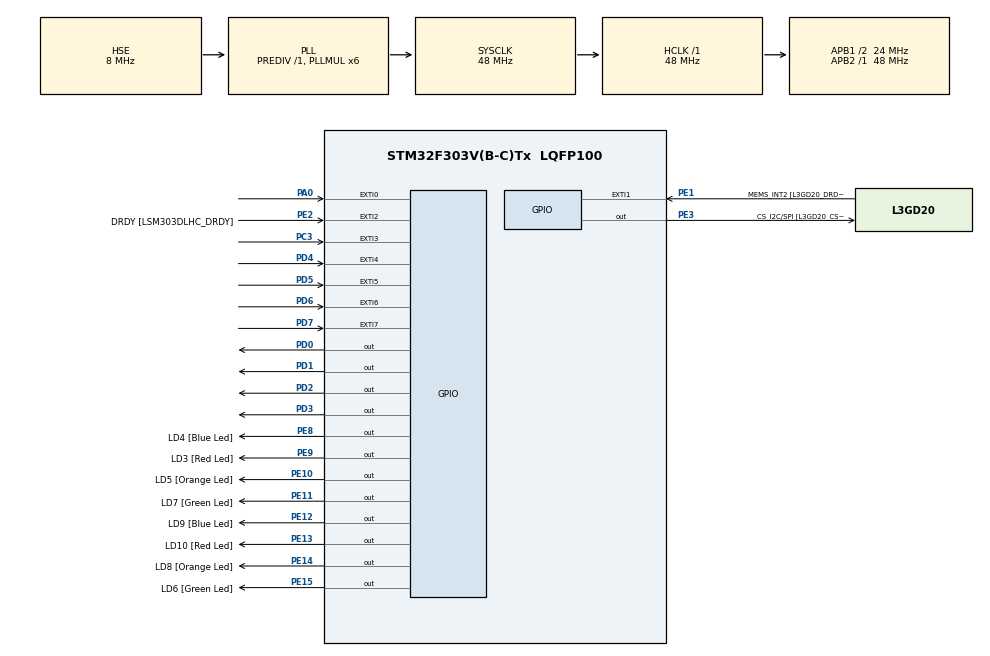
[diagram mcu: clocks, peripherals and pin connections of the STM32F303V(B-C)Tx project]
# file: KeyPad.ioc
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Mcu.Family=STM32F3
Mcu.Name=STM32F303V(B-C)Tx
Mcu.Package=LQFP100
NVIC.EXTI0_IRQn=true\:1\:0\:true\:false\:true\:true\:true
NVIC.EXTI3_IRQn=true\:2\:0\:true\:false\:true\:true\:true
NVIC.EXTI4_IRQn=true\:1\:0\:true\:false\:true\:true\:true
NVIC.EXTI9_5_IRQn=true\:1\:0\:true\:false\:true\:true\:true
NVIC.PriorityGroup=NVIC_PRIORITYGROUP_3
NVIC.TIM3_IRQn=true\:3\:0\:true\:false\:true\:true\:true
NVIC.TIM4_IRQn=true\:4\:0\:true\:false\:true\:true\:true
PA0.GPIO_ModeDefaultEXTI=GPIO_MODE_IT_RISING_FALLING
PA0.GPIO_PuPd=GPIO_PULLDOWN
PA0.Signal=GPXTI0
PA11.GPIO_Label=DM
PA11.Signal=USB_DM
PA12.GPIO_Label=DP
PA12.Signal=USB_DP
PA13.GPIO_Label=SWDIO
PA13.Mode=Serial_Wire
PA13.Signal=SYS_JTMS-SWDIO
PA14.GPIO_Label=SWCLK
PA14.Mode=Serial_Wire
PA14.Signal=SYS_JTCK-SWCLK
PB3.GPIO_Label=SWO
PB3.Signal=SYS_JTDO-TRACESWO
PB6.GPIO_Label=I2C1_SCL [LSM303DLHC_SCL]
PB6.GPIO_Pu=GPIO_PULLUP
PB6.Signal=I2C1_SCL
PB7.GPIO_Label=I2C1_SDA [LSM303DLHC_SDA]
PB7.GPIO_Pu=GPIO_PULLUP
PB7.Signal=I2C1_SDA
PC14-OSC32_IN.GPIO_Label=OSC32_IN
PC14-OSC32_IN.Signal=RCC_OSC32_IN
PC15-OSC32_OUT.GPIO_Label=OSC32_OUT
PC15-OSC32_OUT.Signal=RCC_OSC32_OUT
PC3.Signal=GPXTI3
PD0.Signal=GPIO_Output
PD1.Signal=GPIO_Output
PD2.Signal=GPIO_Output
PD3.Signal=GPIO_Output
PD4.GPIO_ModeDefaultEXTI=GPIO_MODE_IT_RISING
PD4.GPIO_PuPd=GPIO_PULLDOWN
PD4.Signal=GPXTI4
PD5.GPIO_ModeDefaultEXTI=GPIO_MODE_IT_RISING
PD5.GPIO_PuPd=GPIO_PULLDOWN
PD5.Signal=GPXTI5
PD6.GPIO_ModeDefaultEXTI=GPIO_MODE_IT_RISING
PD6.GPIO_PuPd=GPIO_PULLDOWN
PD6.Signal=GPXTI6
PD7.GPIO_ModeDefaultEXTI=GPIO_MODE_IT_RISING
PD7.GPIO_PuPd=GPIO_PULLDOWN
PD7.Signal=GPXTI7
PE1.GPIO_Label=MEMS_INT2 [L3GD20_DRDY/INT2]
PE1.GPIO_ModeDefaultEXTI=GPIO_MODE_EVT_RISING
PE1.Signal=GPXTI1
PE10.GPIO_Label=LD5 [Orange Led]
PE10.Signal=GPIO_Output
PE11.GPIO_Label=LD7 [Green Led]
PE11.Signal=GPIO_Output
PE12.GPIO_Label=LD9 [Blue Led]
PE12.Signal=GPIO_Output
PE13.GPIO_Label=LD10 [Red Led]
PE13.Signal=GPIO_Output
PE14.GPIO_Label=LD8 [Orange Led]
PE14.Signal=GPIO_Output
PE15.GPIO_Label=LD6 [Green Led]
PE15.Signal=GPIO_Output
PE2.GPIO_Label=DRDY [LSM303DLHC_DRDY]
PE2.GPIO_ModeDefaultEXTI=GPIO_MODE_EVT_RISING
PE2.Signal=GPXTI2
PE3.GPIO_Label=CS_I2C/SPI [L3GD20_CS_I2C/SPI]
PE3.Signal=GPIO_Output
PE8.GPIO_Label=LD4 [Blue Led]
PE8.Signal=GPIO_Output
PE9.GPIO_Label=LD3 [Red Led]
PE9.Signal=GPIO_Output
PF0-OSC_IN.GPIO_Label=OSC_IN
PF0-OSC_IN.Mode=HSE-External-Clock-Source
PF0-OSC_IN.Signal=RCC_OSC_IN
PF1-OSC_OUT.GPIO_Label=OSC_OUT
PF1-OSC_OUT.Signal=RCC_OSC_OUT
ProjectManager.HeapSize=0x200
ProjectManager.StackSize=0x400
ProjectManager.TargetToolchain=STM32CubeIDE
RCC.AHBFreq_Value=48000000
RCC.APB1CLKDivider=RCC_HCLK_DIV2
RCC.APB1Freq_Value=24000000
RCC.APB1TimFreq_Value=48000000
RCC.APB2Freq_Value=48000000
RCC.APB2TimFreq_Value=48000000
RCC.CortexFreq_Value=48000000
RCC.HCLKFreq_Value=48000000
RCC.HSE_VALUE=8000000
RCC.HSI_VALUE=8000000
RCC.LSE_VALUE=32768
RCC.PLLMUL=RCC_PLL_MUL6
RCC.PLLSourceVirtual=RCC_PLLSOURCE_HSE
RCC.SYSCLKFreq_VALUE=48000000
RCC.SYSCLKSourceVirtual=RCC_SYSCLKSOURCE_PLLCLK
RCC.USBFreq_Value=48000000
RTC.AsynchPrediv=39
RTC.Format=RTC_FORMAT_BIN
RTC.Hours=18
RTC.Minutes=30
RTC.StoreOperation=RTC_STOREOPERATION_SET
RTC.SynchPrediv=999
TIM3.Period=9999
TIM3.Prescaler=4799
TIM4.Period=9999
TIM4.Prescaler=1199
VP_RTC_VS_RTC_Activate.Mode=RTC_Enabled
VP_RTC_VS_RTC_Calendar.Mode=RTC_Calendar
VP_TIM3_VS_ClockSourceINT.Mode=Internal
VP_TIM4_VS_ClockSourceINT.Mode=Internal
board=STM32F3DISCOVERY

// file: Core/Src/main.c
/* USER CODE BEGIN Header */
/**
  ******************************************************************************
  * @file           : main.c
  * @brief          : Main program body
  ******************************************************************************
  * @attention
  *
  * <h2><center>&copy; Copyright (c) 2021 STMicroelectronics.
  * All rights reserved.</center></h2>
  *
  * This software component is licensed by ST under BSD 3-Clause license,
  * the "License"; You may not use this file except in compliance with the
  * License. You may obtain a copy of the License at:
  *                        opensource.org/licenses/BSD-3-Clause
  *
  ******************************************************************************
  */
/* USER CODE END Header */
#include "main.h"

/* USER CODE BEGIN Includes */
#include "LiquidCrystal.h"
/* USER CODE END Includes */

/* USER CODE BEGIN PD */
#define EXTCOUNT 4
#define OUTPUTCOUNT 4
#define NOTPRESSED 128
#define PASSLEN 8

#define INACTIVE 6
#define LOCKED 0
#define UNLOCKED 1
#define SHORTPASS 2
#define LONGPASS 3
#define WRONGPASS 4
#define RIGHTPASS 5
#define NOTSET 7
#define SET 8

#define SAFE 0
#define NOTSAFE 1
/* USER CODE END PD */

RTC_HandleTypeDef hrtc;

TIM_HandleTypeDef htim3;
TIM_HandleTypeDef htim4;

/* USER CODE BEGIN PV */
RTC_DateTypeDef now_date;
RTC_TimeTypeDef now;
int tick_prev = 0;
uint16_t ext_pins[] = {GPIO_PIN_4, GPIO_PIN_5, GPIO_PIN_6, GPIO_PIN_7};
uint16_t output_pins[] = {GPIO_PIN_0, GPIO_PIN_1, GPIO_PIN_2, GPIO_PIN_3};
uint8_t cur_pressed[] = {NOTPRESSED, NOTPRESSED};
unsigned char keymap[][4] = {
              {'1', '2', '3', 'A'},
              {'4', '5', '6', 'B'},
              {'7', '8', '9', 'C'},
              {'S', '0', 'D', 'E'}
};
uint8_t pass_pointer = 0;
unsigned char password[9] = "12345678S";
unsigned char input_pass[9] = {'\0'};
uint8_t pass_state = NOTSET;
uint8_t lock_state = INACTIVE;
extern uint8_t safety_sw;
extern uint8_t clear_flag;
/* USER CODE END PV */

void SystemClock_Config(void);
static void MX_GPIO_Init(void);
static void MX_RTC_Init(void);
static void MX_TIM3_Init(void);
static void MX_TIM4_Init(void);

/* USER CODE BEGIN 0 */
void clean_input() {
  for(int i = 0; i < (PASSLEN + 1); i++) {
    input_pass[i] = '\0';
  }
}

uint8_t check_input() {
  for(int i = 0; i < PASSLEN; i++) {
    if(input_pass[i] != password[i]) {
      return WRONGPASS;
    }
  }
  return RIGHTPASS;
}
void HAL_GPIO_EXTI_Callback(uint16_t GPIO_Pin) {
  int now = HAL_GetTick();
  if((now - tick_prev) < 270) {
    return;
  }
  tick_prev = now;
  for(int i = 0; i < OUTPUTCOUNT; i++) {
    for(int j = 0; j < OUTPUTCOUNT; j++) {
      HAL_GPIO_WritePin(GPIOD, output_pins[j], GPIO_PIN_RESET);
    }
    HAL_GPIO_WritePin(GPIOD, output_pins[i], GPIO_PIN_SET);
    for(int j = 0; j < EXTCOUNT; j++) {
      if(HAL_GPIO_ReadPin(GPIOD, ext_pins[j])) {
        cur_pressed[0] = i;
        cur_pressed[1] = j;
      }
    }
  }

  for(int j = 0; j < OUTPUTCOUNT; j++) {
    HAL_GPIO_WritePin(GPIOD, output_pins[j], GPIO_PIN_SET);
  }
  if(pass_pointer == 9) {
    clean_input();
    pass_pointer = 0;
  }
  if(lock_state == INACTIVE || lock_state == UNLOCKED) {
    password[pass_pointer] = keymap[cur_pressed[1]][cur_pressed[0]];
    if(password[pass_pointer] == 'S') {
      if(pass_pointer != 8) {
        pass_pointer = 0;
        return;
      } else {
        clear_flag = 1;
        lock_state = LOCKED;
        safety_sw = SAFE;
        pass_state = SET;
        pass_pointer = 0;
        return;
      }
    }
  } else {
    input_pass[pass_pointer] = keymap[cur_pressed[1]][cur_pressed[0]];
    if(input_pass[pass_pointer] == 'S') {
      if(pass_pointer != 8) {
        pass_state = LONGPASS;
        clean_input();
        pass_pointer = 0;
        return;
      } else {
        clear_flag = 1;
        pass_state = check_input();
        lock_state = pass_state == WRONGPASS ? LOCKED : UNLOCKED;
        pass_pointer = 0;
        return;
      }
    }
  }
  cur_pressed[0] = NOTPRESSED;
  cur_pressed[1] = NOTPRESSED;
  pass_pointer++;
}
/* USER CODE END 0 */

int main(void)
{

  /* MCU Configuration--------------------------------------------------------*/

  /* Reset of all peripherals, Initializes the Flash interface and the Systick. */
  HAL_Init();

  /* Configure the system clock */
  SystemClock_Config();

  /* Initialize all configured peripherals */
  MX_GPIO_Init();
  MX_RTC_Init();
  MX_TIM3_Init();
  MX_TIM4_Init();
  /* USER CODE BEGIN 2 */
  for(int j = 0; j < OUTPUTCOUNT; j++) {
    HAL_GPIO_WritePin(GPIOD, output_pins[j], GPIO_PIN_SET);
  }
  now.Hours = 18;
  now.Minutes = 30;
  now.Seconds = 0;
  HAL_RTC_SetTime(&hrtc, &now, RTC_FORMAT_BIN);
  now_date.Year = 21;
  now_date.Month = 12;
  now_date.WeekDay = RTC_WEEKDAY_SATURDAY;
  now_date.Date = 11;
  HAL_RTC_SetDate(&hrtc, &now_date, RTC_FORMAT_BIN);
  LiquidCrystal(GPIOD, GPIO_PIN_8, GPIO_PIN_9, GPIO_PIN_10, GPIO_PIN_11, GPIO_PIN_12, GPIO_PIN_13, GPIO_PIN_14);
  begin(20, 4);
  HAL_TIM_Base_Start_IT(&htim4);
  HAL_TIM_Base_Start_IT(&htim3);
  /* USER CODE END 2 */

  /* Infinite loop */
  while (1)
  {

  }
}

void SystemClock_Config(void)
{
  RCC_OscInitTypeDef RCC_OscInitStruct = {0};
  RCC_ClkInitTypeDef RCC_ClkInitStruct = {0};
  RCC_PeriphCLKInitTypeDef PeriphClkInit = {0};

  /** Initializes the RCC Oscillators according to the specified parameters
  * in the RCC_OscInitTypeDef structure.
  */
  RCC_OscInitStruct.OscillatorType = RCC_OSCILLATORTYPE_LSI|RCC_OSCILLATORTYPE_HSE;
  RCC_OscInitStruct.HSEState = RCC_HSE_BYPASS;
  RCC_OscInitStruct.HSEPredivValue = RCC_HSE_PREDIV_DIV1;
  RCC_OscInitStruct.HSIState = RCC_HSI_ON;
  RCC_OscInitStruct.LSIState = RCC_LSI_ON;
  RCC_OscInitStruct.PLL.PLLState = RCC_PLL_ON;
  RCC_OscInitStruct.PLL.PLLSource = RCC_PLLSOURCE_HSE;
  RCC_OscInitStruct.PLL.PLLMUL = RCC_PLL_MUL6;
  if (HAL_RCC_OscConfig(&RCC_OscInitStruct) != HAL_OK)
  {
    Error_Handler();
  }
  /** Initializes the CPU, AHB and APB buses clocks
  */
  RCC_ClkInitStruct.ClockType = RCC_CLOCKTYPE_HCLK|RCC_CLOCKTYPE_SYSCLK
                              |RCC_CLOCKTYPE_PCLK1|RCC_CLOCKTYPE_PCLK2;
  RCC_ClkInitStruct.SYSCLKSource = RCC_SYSCLKSOURCE_PLLCLK;
  RCC_ClkInitStruct.AHBCLKDivider = RCC_SYSCLK_DIV1;
  RCC_ClkInitStruct.APB1CLKDivider = RCC_HCLK_DIV2;
  RCC_ClkInitStruct.APB2CLKDivider = RCC_HCLK_DIV1;

  if (HAL_RCC_ClockConfig(&RCC_ClkInitStruct, FLASH_LATENCY_1) != HAL_OK)
  {
    Error_Handler();
  }
  PeriphClkInit.PeriphClockSelection = RCC_PERIPHCLK_RTC;
  PeriphClkInit.RTCClockSelection = RCC_RTCCLKSOURCE_LSI;
  if (HAL_RCCEx_PeriphCLKConfig(&PeriphClkInit) != HAL_OK)
  {
    Error_Handler();
  }
}

static void MX_RTC_Init(void)
{

  RTC_TimeTypeDef sTime = {0};
  RTC_DateTypeDef sDate = {0};

  /** Initialize RTC Only
  */
  hrtc.Instance = RTC;
  hrtc.Init.HourFormat = RTC_HOURFORMAT_24;
  hrtc.Init.AsynchPrediv = 39;
  hrtc.Init.SynchPrediv = 999;
  hrtc.Init.OutPut = RTC_OUTPUT_DISABLE;
  hrtc.Init.OutPutPolarity = RTC_OUTPUT_POLARITY_HIGH;
  hrtc.Init.OutPutType = RTC_OUTPUT_TYPE_OPENDRAIN;
  if (HAL_RTC_Init(&hrtc) != HAL_OK)
  {
    Error_Handler();
  }

  /** Initialize RTC and set the Time and Date
  */
  sTime.Hours = 18;
  sTime.Minutes = 30;
  sTime.Seconds = 0;
  sTime.DayLightSaving = RTC_DAYLIGHTSAVING_NONE;
  sTime.StoreOperation = RTC_STOREOPERATION_SET;
  if (HAL_RTC_SetTime(&hrtc, &sTime, RTC_FORMAT_BIN) != HAL_OK)
  {
    Error_Handler();
  }
  sDate.WeekDay = RTC_WEEKDAY_MONDAY;
  sDate.Month = RTC_MONTH_JANUARY;
  sDate.Date = 1;
  sDate.Year = 0;

  if (HAL_RTC_SetDate(&hrtc, &sDate, RTC_FORMAT_BIN) != HAL_OK)
  {
    Error_Handler();
  }

}

static void MX_TIM3_Init(void)
{

  TIM_ClockConfigTypeDef sClockSourceConfig = {0};
  TIM_MasterConfigTypeDef sMasterConfig = {0};

  htim3.Instance = TIM3;
  htim3.Init.Prescaler = 4799;
  htim3.Init.CounterMode = TIM_COUNTERMODE_UP;
  htim3.Init.Period = 9999;
  htim3.Init.ClockDivision = TIM_CLOCKDIVISION_DIV1;
  htim3.Init.AutoReloadPreload = TIM_AUTORELOAD_PRELOAD_DISABLE;
  if (HAL_TIM_Base_Init(&htim3) != HAL_OK)
  {
    Error_Handler();
  }
  sClockSourceConfig.ClockSource = TIM_CLOCKSOURCE_INTERNAL;
  if (HAL_TIM_ConfigClockSource(&htim3, &sClockSourceConfig) != HAL_OK)
  {
    Error_Handler();
  }
  sMasterConfig.MasterOutputTrigger = TIM_TRGO_RESET;
  sMasterConfig.MasterSlaveMode = TIM_MASTERSLAVEMODE_DISABLE;
  if (HAL_TIMEx_MasterConfigSynchronization(&htim3, &sMasterConfig) != HAL_OK)
  {
    Error_Handler();
  }

}

static void MX_TIM4_Init(void)
{

  TIM_ClockConfigTypeDef sClockSourceConfig = {0};
  TIM_MasterConfigTypeDef sMasterConfig = {0};

  htim4.Instance = TIM4;
  htim4.Init.Prescaler = 1199;
  htim4.Init.CounterMode = TIM_COUNTERMODE_UP;
  htim4.Init.Period = 9999;
  htim4.Init.ClockDivision = TIM_CLOCKDIVISION_DIV1;
  htim4.Init.AutoReloadPreload = TIM_AUTORELOAD_PRELOAD_DISABLE;
  if (HAL_TIM_Base_Init(&htim4) != HAL_OK)
  {
    Error_Handler();
  }
  sClockSourceConfig.ClockSource = TIM_CLOCKSOURCE_INTERNAL;
  if (HAL_TIM_ConfigClockSource(&htim4, &sClockSourceConfig) != HAL_OK)
  {
    Error_Handler();
  }
  sMasterConfig.MasterOutputTrigger = TIM_TRGO_RESET;
  sMasterConfig.MasterSlaveMode = TIM_MASTERSLAVEMODE_DISABLE;
  if (HAL_TIMEx_MasterConfigSynchronization(&htim4, &sMasterConfig) != HAL_OK)
  {
    Error_Handler();
  }

}

static void MX_GPIO_Init(void)
{
  GPIO_InitTypeDef GPIO_InitStruct = {0};

  /* GPIO Ports Clock Enable */
  __HAL_RCC_GPIOE_CLK_ENABLE();
  __HAL_RCC_GPIOC_CLK_ENABLE();
  __HAL_RCC_GPIOF_CLK_ENABLE();
  __HAL_RCC_GPIOA_CLK_ENABLE();
  __HAL_RCC_GPIOD_CLK_ENABLE();
  __HAL_RCC_GPIOB_CLK_ENABLE();

  /*Configure GPIO pin Output Level */
  HAL_GPIO_WritePin(GPIOE, CS_I2C_SPI_Pin|LD4_Pin|LD3_Pin|LD5_Pin
                          |LD7_Pin|LD9_Pin|LD10_Pin|LD8_Pin
                          |LD6_Pin, GPIO_PIN_RESET);

  /*Configure GPIO pin Output Level */
  HAL_GPIO_WritePin(GPIOD, GPIO_PIN_0|GPIO_PIN_1|GPIO_PIN_2|GPIO_PIN_3, GPIO_PIN_RESET);

  /*Configure GPIO pins : DRDY_Pin MEMS_INT2_Pin */
  GPIO_InitStruct.Pin = DRDY_Pin|MEMS_INT2_Pin;
  GPIO_InitStruct.Mode = GPIO_MODE_EVT_RISING;
  GPIO_InitStruct.Pull = GPIO_NOPULL;
  HAL_GPIO_Init(GPIOE, &GPIO_InitStruct);

  /*Configure GPIO pins : CS_I2C_SPI_Pin LD4_Pin LD3_Pin LD5_Pin
                           LD7_Pin LD9_Pin LD10_Pin LD8_Pin
                           LD6_Pin */
  GPIO_InitStruct.Pin = CS_I2C_SPI_Pin|LD4_Pin|LD3_Pin|LD5_Pin
                          |LD7_Pin|LD9_Pin|LD10_Pin|LD8_Pin
                          |LD6_Pin;
  GPIO_InitStruct.Mode = GPIO_MODE_OUTPUT_PP;
  GPIO_InitStruct.Pull = GPIO_NOPULL;
  GPIO_InitStruct.Speed = GPIO_SPEED_FREQ_LOW;
  HAL_GPIO_Init(GPIOE, &GPIO_InitStruct);

  /*Configure GPIO pin : PC3 */
  GPIO_InitStruct.Pin = GPIO_PIN_3;
  GPIO_InitStruct.Mode = GPIO_MODE_IT_RISING;
  GPIO_InitStruct.Pull = GPIO_NOPULL;
  HAL_GPIO_Init(GPIOC, &GPIO_InitStruct);

  /*Configure GPIO pin : PA0 */
  GPIO_InitStruct.Pin = GPIO_PIN_0;
  GPIO_InitStruct.Mode = GPIO_MODE_IT_RISING_FALLING;
  GPIO_InitStruct.Pull = GPIO_PULLDOWN;
  HAL_GPIO_Init(GPIOA, &GPIO_InitStruct);

  /*Configure GPIO pins : DM_Pin DP_Pin */
  GPIO_InitStruct.Pin = DM_Pin|DP_Pin;
  GPIO_InitStruct.Mode = GPIO_MODE_AF_PP;
  GPIO_InitStruct.Pull = GPIO_NOPULL;
  GPIO_InitStruct.Speed = GPIO_SPEED_FREQ_HIGH;
  GPIO_InitStruct.Alternate = GPIO_AF14_USB;
  HAL_GPIO_Init(GPIOA, &GPIO_InitStruct);

  /*Configure GPIO pins : PD0 PD1 PD2 PD3 */
  GPIO_InitStruct.Pin = GPIO_PIN_0|GPIO_PIN_1|GPIO_PIN_2|GPIO_PIN_3;
  GPIO_InitStruct.Mode = GPIO_MODE_OUTPUT_PP;
  GPIO_InitStruct.Pull = GPIO_NOPULL;
  GPIO_InitStruct.Speed = GPIO_SPEED_FREQ_LOW;
  HAL_GPIO_Init(GPIOD, &GPIO_InitStruct);

  /*Configure GPIO pins : PD4 PD5 PD6 PD7 */
  GPIO_InitStruct.Pin = GPIO_PIN_4|GPIO_PIN_5|GPIO_PIN_6|GPIO_PIN_7;
  GPIO_InitStruct.Mode = GPIO_MODE_IT_RISING;
  GPIO_InitStruct.Pull = GPIO_PULLDOWN;
  HAL_GPIO_Init(GPIOD, &GPIO_InitStruct);

  /*Configure GPIO pins : I2C1_SCL_Pin I2C1_SDA_Pin */
  GPIO_InitStruct.Pin = I2C1_SCL_Pin|I2C1_SDA_Pin;
  GPIO_InitStruct.Mode = GPIO_MODE_AF_OD;
  GPIO_InitStruct.Pull = GPIO_PULLUP;
  GPIO_InitStruct.Speed = GPIO_SPEED_FREQ_HIGH;
  GPIO_InitStruct.Alternate = GPIO_AF4_I2C1;
  HAL_GPIO_Init(GPIOB, &GPIO_InitStruct);

  /* EXTI interrupt init*/
  HAL_NVIC_SetPriority(EXTI0_IRQn, 1, 0);
  HAL_NVIC_EnableIRQ(EXTI0_IRQn);

  HAL_NVIC_SetPriority(EXTI3_IRQn, 2, 0);
  HAL_NVIC_EnableIRQ(EXTI3_IRQn);

  HAL_NVIC_SetPriority(EXTI4_IRQn, 1, 0);
  HAL_NVIC_EnableIRQ(EXTI4_IRQn);

  HAL_NVIC_SetPriority(EXTI9_5_IRQn, 1, 0);
  HAL_NVIC_EnableIRQ(EXTI9_5_IRQn);

}

void Error_Handler(void)
{
  __disable_irq();
  while (1)
  {
  }
}

/************************ (C) COPYRIGHT STMicroelectronics *****END OF FILE****/
